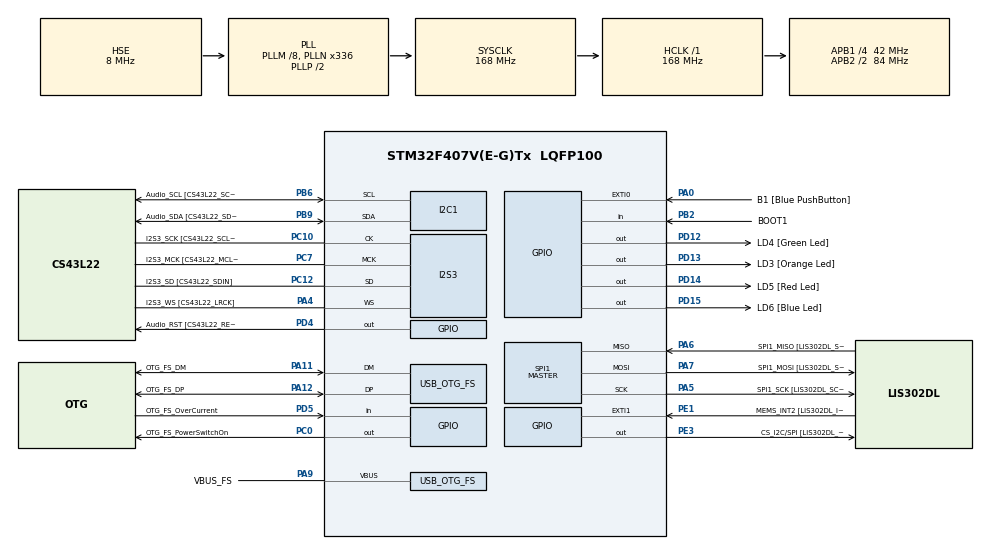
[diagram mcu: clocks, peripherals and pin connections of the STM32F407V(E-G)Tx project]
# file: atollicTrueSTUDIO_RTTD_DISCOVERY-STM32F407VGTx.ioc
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I2S3.AudioFreq-Half_Duplex_Master=I2S_AUDIOFREQ_96K
I2S3.ErrorAudioFreq=-2.34 %
I2S3.ErrorAudioFreq-Half_Duplex_Master=0.8 %
I2S3.FullDuplexMode=I2S_FULLDUPLEXMODE_DISABLE
I2S3.Instance=SPI$Index
I2S3.RealAudioFreq=93.75 KHz
I2S3.RealAudioFreq-Half_Duplex_Master=96.774 KHz
I2S3.VirtualMode=I2S_MODE_MASTER
Mcu.Family=STM32F4
Mcu.Name=STM32F407V(E-G)Tx
Mcu.Package=LQFP100
NVIC.OTG_FS_IRQn=true\:0\:0\:false\:false\:true\:true\:true
NVIC.PriorityGroup=NVIC_PRIORITYGROUP_0
PA0-WKUP.GPIO_Label=B1 [Blue PushButton]
PA0-WKUP.GPIO_ModeDefaultEXTI=GPIO_MODE_EVT_RISING
PA0-WKUP.GPIO_PuPd=GPIO_NOPULL
PA0-WKUP.Signal=GPXTI0
PA10.GPIO_Label=OTG_FS_ID
PA10.GPIO_Mode=GPIO_MODE_AF_PP
PA10.GPIO_PuPd=GPIO_NOPULL
PA10.GPIO_Speed=GPIO_SPEED_FREQ_LOW
PA10.Signal=USB_OTG_FS_ID
PA11.GPIO_Label=OTG_FS_DM
PA11.GPIO_Mode=GPIO_MODE_AF_PP
PA11.GPIO_PuPd=GPIO_NOPULL
PA11.GPIO_Speed=GPIO_SPEED_FREQ_LOW
PA11.Mode=Host_Only
PA11.Signal=USB_OTG_FS_DM
PA12.GPIO_Label=OTG_FS_DP
PA12.GPIO_Mode=GPIO_MODE_AF_PP
PA12.GPIO_PuPd=GPIO_NOPULL
PA12.GPIO_Speed=GPIO_SPEED_FREQ_LOW
PA12.Mode=Host_Only
PA12.Signal=USB_OTG_FS_DP
PA13.GPIO_Label=SWDIO
PA13.Mode=Serial_Wire
PA13.Signal=SYS_JTMS-SWDIO
PA14.GPIO_Label=SWCLK
PA14.Mode=Serial_Wire
PA14.Signal=SYS_JTCK-SWCLK
PA4.GPIO_Label=I2S3_WS [CS43L22_LRCK]
PA4.GPIO_Mode=GPIO_MODE_AF_PP
PA4.GPIO_PuPd=GPIO_NOPULL
PA4.GPIO_Speed=GPIO_SPEED_FREQ_LOW
PA4.Mode=Half_Duplex_Master
PA4.Signal=I2S3_WS
PA5.GPIO_Label=SPI1_SCK [LIS302DL_SCL/SPC]
PA5.GPIO_Mode=GPIO_MODE_AF_PP
PA5.GPIO_PuPd=GPIO_NOPULL
PA5.GPIO_Speed=GPIO_SPEED_FREQ_LOW
PA5.Mode=Full_Duplex_Master
PA5.Signal=SPI1_SCK
PA6.GPIO_Label=SPI1_MISO [LIS302DL_SDO]
PA6.GPIO_Mode=GPIO_MODE_AF_PP
PA6.GPIO_PuPd=GPIO_NOPULL
PA6.GPIO_Speed=GPIO_SPEED_FREQ_LOW
PA6.Mode=Full_Duplex_Master
PA6.Signal=SPI1_MISO
PA7.GPIO_Label=SPI1_MOSI [LIS302DL_SDA/SDI/SDO]
PA7.GPIO_Mode=GPIO_MODE_AF_PP
PA7.GPIO_PuPd=GPIO_NOPULL
PA7.GPIO_Speed=GPIO_SPEED_FREQ_LOW
PA7.Mode=Full_Duplex_Master
PA7.Signal=SPI1_MOSI
PA9.GPIO_Label=VBUS_FS
PA9.GPIO_Mode=GPIO_MODE_INPUT
PA9.GPIO_PuPd=GPIO_NOPULL
PA9.Mode=Activate_VBUS
PA9.Signal=USB_OTG_FS_VBUS
PB10.GPIO_Label=CLK_IN [MP45DT02_CLK]
PB10.GPIO_Mode=GPIO_MODE_AF_PP
PB10.GPIO_PuPd=GPIO_NOPULL
PB10.GPIO_Speed=GPIO_SPEED_FREQ_LOW
PB10.Signal=I2S2_CK
PB2.GPIO_Label=BOOT1
PB2.GPIO_Mode=GPIO_MODE_INPUT
PB2.GPIO_PuPd=GPIO_NOPULL
PB2.Signal=GPIO_Input
PB3.GPIO_Label=SWO
PB3.Signal=SYS_JTDO-SWO
PB6.GPIO_Label=Audio_SCL [CS43L22_SCL]
PB6.GPIO_Mode=GPIO_MODE_AF_OD
PB6.GPIO_PuPd=GPIO_NOPULL
PB6.GPIO_Speed=GPIO_SPEED_FREQ_LOW
PB6.Mode=I2C
PB6.Signal=I2C1_SCL
PB9.GPIO_Label=Audio_SDA [CS43L22_SDA]
PB9.GPIO_Mode=GPIO_MODE_AF_OD
PB9.GPIO_PuPd=GPIO_NOPULL
PB9.GPIO_Speed=GPIO_SPEED_FREQ_LOW
PB9.Mode=I2C
PB9.Signal=I2C1_SDA
PC0.GPIO_Label=OTG_FS_PowerSwitchOn
PC0.GPIO_PuPd=GPIO_NOPULL
PC0.GPIO_Speed=GPIO_SPEED_FREQ_LOW
PC0.PinState=GPIO_PIN_SET
PC0.Signal=GPIO_Output
PC10.GPIO_Label=I2S3_SCK [CS43L22_SCLK]
PC10.GPIO_Mode=GPIO_MODE_AF_PP
PC10.GPIO_PuPd=GPIO_NOPULL
PC10.GPIO_Speed=GPIO_SPEED_FREQ_LOW
PC10.Mode=Half_Duplex_Master
PC10.Signal=I2S3_CK
PC12.GPIO_Label=I2S3_SD [CS43L22_SDIN]
PC12.GPIO_Mode=GPIO_MODE_AF_PP
PC12.GPIO_PuPd=GPIO_NOPULL
PC12.GPIO_Speed=GPIO_SPEED_FREQ_LOW
PC12.Mode=Half_Duplex_Master
PC12.Signal=I2S3_SD
PC14-OSC32_IN.GPIO_Label=PC14-OSC32_IN
PC14-OSC32_IN.Mode=LSE-External-Oscillator
PC14-OSC32_IN.Signal=RCC_OSC32_IN
PC15-OSC32_OUT.GPIO_Label=PC15-OSC32_OUT
PC15-OSC32_OUT.Mode=LSE-External-Oscillator
PC15-OSC32_OUT.Signal=RCC_OSC32_OUT
PC3.GPIO_Label=PDM_OUT [MP45DT02_DOUT]
PC3.GPIO_Mode=GPIO_MODE_AF_PP
PC3.GPIO_PuPd=GPIO_NOPULL
PC3.GPIO_Speed=GPIO_SPEED_FREQ_LOW
PC3.Signal=I2S2_SD
PC7.GPIO_Label=I2S3_MCK [CS43L22_MCLK]
PC7.GPIO_Mode=GPIO_MODE_AF_PP
PC7.GPIO_PuPd=GPIO_NOPULL
PC7.GPIO_Speed=GPIO_SPEED_FREQ_LOW
PC7.Mode=Master_Clock_Activated
PC7.Signal=I2S3_MCK
PD12.GPIO_Label=LD4 [Green Led]
PD12.GPIO_PuPd=GPIO_NOPULL
PD12.GPIO_Speed=GPIO_SPEED_FREQ_LOW
PD12.Signal=GPIO_Output
PD13.GPIO_Label=LD3 [Orange Led]
PD13.GPIO_PuPd=GPIO_NOPULL
PD13.GPIO_Speed=GPIO_SPEED_FREQ_LOW
PD13.Signal=GPIO_Output
PD14.GPIO_Label=LD5 [Red Led]
PD14.GPIO_PuPd=GPIO_NOPULL
PD14.GPIO_Speed=GPIO_SPEED_FREQ_LOW
PD14.Signal=GPIO_Output
PD15.GPIO_Label=LD6 [Blue Led]
PD15.GPIO_PuPd=GPIO_NOPULL
PD15.GPIO_Speed=GPIO_SPEED_FREQ_LOW
PD15.Signal=GPIO_Output
PD4.GPIO_Label=Audio_RST [CS43L22_RESET]
PD4.GPIO_PuPd=GPIO_NOPULL
PD4.GPIO_Speed=GPIO_SPEED_FREQ_LOW
PD4.Signal=GPIO_Output
PD5.GPIO_Label=OTG_FS_OverCurrent
PD5.GPIO_Mode=GPIO_MODE_INPUT
PD5.GPIO_PuPd=GPIO_NOPULL
PD5.Signal=GPIO_Input
PE1.GPIO_Label=MEMS_INT2 [LIS302DL_INT2]
PE1.GPIO_ModeDefaultEXTI=GPIO_MODE_EVT_RISING
PE1.GPIO_PuPd=GPIO_NOPULL
PE1.Signal=GPXTI1
PE3.GPIO_Label=CS_I2C/SPI [LIS302DL_CS_I2C/SPI]
PE3.GPIO_PuPd=GPIO_NOPULL
PE3.GPIO_Speed=GPIO_SPEED_FREQ_LOW
PE3.Signal=GPIO_Output
PH0-OSC_IN.GPIO_Label=PH0-OSC_IN
PH0-OSC_IN.Mode=HSE-External-Oscillator
PH0-OSC_IN.Signal=RCC_OSC_IN
PH1-OSC_OUT.GPIO_Label=PH1-OSC_OUT
PH1-OSC_OUT.Mode=HSE-External-Oscillator
PH1-OSC_OUT.Signal=RCC_OSC_OUT
ProjectManager.HeapSize=0x200
ProjectManager.StackSize=0x400
ProjectManager.TargetToolchain=TrueSTUDIO
RCC.48MHZClocksFreq_Value=48000000
RCC.AHBFreq_Value=168000000
RCC.APB1CLKDivider=RCC_HCLK_DIV4
RCC.APB1Freq_Value=42000000
RCC.APB1TimFreq_Value=84000000
RCC.APB2CLKDivider=RCC_HCLK_DIV2
RCC.APB2Freq_Value=84000000
RCC.APB2TimFreq_Value=168000000
RCC.CortexFreq_Value=168000000
RCC.HCLKFreq_Value=168000000
RCC.HSE_VALUE=8000000
RCC.HSI_VALUE=16000000
RCC.PLLM=8
RCC.PLLN=336
RCC.PLLQ=7
RCC.SYSCLKFreq_VALUE=168000000
RCC.SYSCLKSource=RCC_SYSCLKSOURCE_PLLCLK
RCC.VCOOutputFreq_Value=336000000
SPI1.BaudRatePrescaler-Full_Duplex_Master=SPI_BAUDRATEPRESCALER_2
SPI1.CalculateBaudRate-Full_Duplex_Master=42.0 MBits/s
SPI1.Direction=SPI_DIRECTION_2LINES
SPI1.Mode=SPI_MODE_MASTER
SPI1.Mode-Full_Duplex_Master=SPI_MODE_MASTER
SPI1.VirtualType=VM_MASTER
USB_HOST.BSP.number=1
USB_HOST.USBH_HandleTypeDef-CDC_FS=hUsbHostFS
USB_HOST.VirtualModeFS=Cdc
USB_HOST0.BSP.STBoard=false
USB_HOST0.BSP.api=Unknown
USB_HOST0.BSP.i2caddr=0
USB_HOST0.BSP.i2creg=0
USB_HOST0.BSP.instance=PC0
USB_HOST0.BSP.ip=GPIO
USB_HOST0.BSP.mode=Output
USB_HOST0.BSP.name=Drive_VBUS_FS
USB_HOST0.BSP.solution=PC0
USB_OTG_FS.VirtualMode=Host_Only
USB_OTG_FS.phy_itface=HCD_PHY_EMBEDDED
VP_USB_HOST_VS_USB_HOST_CDC_FS.Mode=CDC_FS
board=STM32F407G-DISC1

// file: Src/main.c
/* USER CODE BEGIN Header */
/**
  ******************************************************************************
  * @file           : main.c
  * @brief          : Main program body
  ******************************************************************************
  * @attention
  *
  * <h2><center>&copy; Copyright (c) 2020 STMicroelectronics.
  * All rights reserved.</center></h2>
  *
  * This software component is licensed by ST under Ultimate Liberty license
  * SLA0044, the "License"; You may not use this file except in compliance with
  * the License. You may obtain a copy of the License at:
  *                             www.st.com/SLA0044
  *
  ******************************************************************************
  */
/* USER CODE END Header */

#include "main.h"
#include "usb_host.h"

/* USER CODE BEGIN Includes */
#include "SEGGER_RTT.h"
#include "trice.h"
/* USER CODE END Includes */

I2C_HandleTypeDef hi2c1;

I2S_HandleTypeDef hi2s3;

SPI_HandleTypeDef hspi1;

void SystemClock_Config(void);
static void MX_GPIO_Init(void);
static void MX_I2C1_Init(void);
static void MX_I2S3_Init(void);
static void MX_SPI1_Init(void);
void MX_USB_HOST_Process(void);

int main(void)
{

  /* MCU Configuration--------------------------------------------------------*/

  /* Reset of all peripherals, Initializes the Flash interface and the Systick. */
  HAL_Init();

  /* Configure the system clock */
  SystemClock_Config();

  /* Initialize all configured peripherals */
  MX_GPIO_Init();
  MX_I2C1_Init();
  MX_I2S3_Init();
  MX_SPI1_Init();
  MX_USB_HOST_Init();

  /* Infinite loop */
  /* USER CODE BEGIN WHILE */
  TRICE_RTT_SYNC;
  TRICE16_1( Id(47304), "tim:timing      message, SysTick is %6d\n", SYSTICKVAL16 );
  TRICE0( Id(51071), "att:atollicTrueSTUDIO_RTTD_DISCOVERY-STM32F407VGTx\n" );
  TRICE16_1( Id(32392), "tim:timing      message, SysTick is %6d\n", SYSTICKVAL16 );
  TRICE16_1( Id(35978), "tim:timing      message, SysTick is %6d\n", SYSTICKVAL16 );
  TRICE16_1( Id( 7285), "tim:timing      message, SysTick is %6d\n", SYSTICKVAL16 );
  TRICE16_1( Id(63877), "tim:timing      message, SysTick is %6d\n", SYSTICKVAL16 );
  while (1)
  {
      //////////////////////////////////////////////////
      // demo trices
      //
	  static uint32_t ms_1 = 0;
	  uint32_t ms = HAL_GetTick();
      if( ms >= ms_1 + 1000 ){ // every sec
          TRICE_RTT_SYNC; // for re-synchronisation the running target
          static int index = 0;
          triceCheckSet(index++%20);
          TRICE32_1( Id( 6262), "time:ms = %d\n", ms );
          ms_1 = ms;
      }
      //
      //////////////////////////////////////////////////

      //////////////////////////////////////////////////
      // no background activity needed in code
      //////////////////////////////////////////////////

    /* USER CODE END WHILE */
    MX_USB_HOST_Process();

  }
}

void SystemClock_Config(void)
{
  RCC_OscInitTypeDef RCC_OscInitStruct = {0};
  RCC_ClkInitTypeDef RCC_ClkInitStruct = {0};
  RCC_PeriphCLKInitTypeDef PeriphClkInitStruct = {0};

  /** Configure the main internal regulator output voltage
  */
  __HAL_RCC_PWR_CLK_ENABLE();
  __HAL_PWR_VOLTAGESCALING_CONFIG(PWR_REGULATOR_VOLTAGE_SCALE1);
  /** Initializes the CPU, AHB and APB busses clocks
  */
  RCC_OscInitStruct.OscillatorType = RCC_OSCILLATORTYPE_HSE;
  RCC_OscInitStruct.HSEState = RCC_HSE_ON;
  RCC_OscInitStruct.PLL.PLLState = RCC_PLL_ON;
  RCC_OscInitStruct.PLL.PLLSource = RCC_PLLSOURCE_HSE;
  RCC_OscInitStruct.PLL.PLLM = 8;
  RCC_OscInitStruct.PLL.PLLN = 336;
  RCC_OscInitStruct.PLL.PLLP = RCC_PLLP_DIV2;
  RCC_OscInitStruct.PLL.PLLQ = 7;
  if (HAL_RCC_OscConfig(&RCC_OscInitStruct) != HAL_OK)
  {
    Error_Handler();
  }
  /** Initializes the CPU, AHB and APB busses clocks
  */
  RCC_ClkInitStruct.ClockType = RCC_CLOCKTYPE_HCLK|RCC_CLOCKTYPE_SYSCLK
                              |RCC_CLOCKTYPE_PCLK1|RCC_CLOCKTYPE_PCLK2;
  RCC_ClkInitStruct.SYSCLKSource = RCC_SYSCLKSOURCE_PLLCLK;
  RCC_ClkInitStruct.AHBCLKDivider = RCC_SYSCLK_DIV1;
  RCC_ClkInitStruct.APB1CLKDivider = RCC_HCLK_DIV4;
  RCC_ClkInitStruct.APB2CLKDivider = RCC_HCLK_DIV2;

  if (HAL_RCC_ClockConfig(&RCC_ClkInitStruct, FLASH_LATENCY_5) != HAL_OK)
  {
    Error_Handler();
  }
  PeriphClkInitStruct.PeriphClockSelection = RCC_PERIPHCLK_I2S;
  PeriphClkInitStruct.PLLI2S.PLLI2SN = 192;
  PeriphClkInitStruct.PLLI2S.PLLI2SR = 2;
  if (HAL_RCCEx_PeriphCLKConfig(&PeriphClkInitStruct) != HAL_OK)
  {
    Error_Handler();
  }
}

static void MX_I2C1_Init(void)
{

  hi2c1.Instance = I2C1;
  hi2c1.Init.ClockSpeed = 100000;
  hi2c1.Init.DutyCycle = I2C_DUTYCYCLE_2;
  hi2c1.Init.OwnAddress1 = 0;
  hi2c1.Init.AddressingMode = I2C_ADDRESSINGMODE_7BIT;
  hi2c1.Init.DualAddressMode = I2C_DUALADDRESS_DISABLE;
  hi2c1.Init.OwnAddress2 = 0;
  hi2c1.Init.GeneralCallMode = I2C_GENERALCALL_DISABLE;
  hi2c1.Init.NoStretchMode = I2C_NOSTRETCH_DISABLE;
  if (HAL_I2C_Init(&hi2c1) != HAL_OK)
  {
    Error_Handler();
  }

}

static void MX_I2S3_Init(void)
{

  hi2s3.Instance = SPI3;
  hi2s3.Init.Mode = I2S_MODE_MASTER_TX;
  hi2s3.Init.Standard = I2S_STANDARD_PHILIPS;
  hi2s3.Init.DataFormat = I2S_DATAFORMAT_16B;
  hi2s3.Init.MCLKOutput = I2S_MCLKOUTPUT_ENABLE;
  hi2s3.Init.AudioFreq = I2S_AUDIOFREQ_96K;
  hi2s3.Init.CPOL = I2S_CPOL_LOW;
  hi2s3.Init.ClockSource = I2S_CLOCK_PLL;
  hi2s3.Init.FullDuplexMode = I2S_FULLDUPLEXMODE_DISABLE;
  if (HAL_I2S_Init(&hi2s3) != HAL_OK)
  {
    Error_Handler();
  }

}

static void MX_SPI1_Init(void)
{

  /* SPI1 parameter configuration*/
  hspi1.Instance = SPI1;
  hspi1.Init.Mode = SPI_MODE_MASTER;
  hspi1.Init.Direction = SPI_DIRECTION_2LINES;
  hspi1.Init.DataSize = SPI_DATASIZE_8BIT;
  hspi1.Init.CLKPolarity = SPI_POLARITY_LOW;
  hspi1.Init.CLKPhase = SPI_PHASE_1EDGE;
  hspi1.Init.NSS = SPI_NSS_SOFT;
  hspi1.Init.BaudRatePrescaler = SPI_BAUDRATEPRESCALER_2;
  hspi1.Init.FirstBit = SPI_FIRSTBIT_MSB;
  hspi1.Init.TIMode = SPI_TIMODE_DISABLE;
  hspi1.Init.CRCCalculation = SPI_CRCCALCULATION_DISABLE;
  hspi1.Init.CRCPolynomial = 10;
  if (HAL_SPI_Init(&hspi1) != HAL_OK)
  {
    Error_Handler();
  }

}

static void MX_GPIO_Init(void)
{
  GPIO_InitTypeDef GPIO_InitStruct = {0};

  /* GPIO Ports Clock Enable */
  __HAL_RCC_GPIOE_CLK_ENABLE();
  __HAL_RCC_GPIOC_CLK_ENABLE();
  __HAL_RCC_GPIOH_CLK_ENABLE();
  __HAL_RCC_GPIOA_CLK_ENABLE();
  __HAL_RCC_GPIOB_CLK_ENABLE();
  __HAL_RCC_GPIOD_CLK_ENABLE();

  /*Configure GPIO pin Output Level */
  HAL_GPIO_WritePin(CS_I2C_SPI_GPIO_Port, CS_I2C_SPI_Pin, GPIO_PIN_RESET);

  /*Configure GPIO pin Output Level */
  HAL_GPIO_WritePin(OTG_FS_PowerSwitchOn_GPIO_Port, OTG_FS_PowerSwitchOn_Pin, GPIO_PIN_SET);

  /*Configure GPIO pin Output Level */
  HAL_GPIO_WritePin(GPIOD, LD4_Pin|LD3_Pin|LD5_Pin|LD6_Pin
                          |Audio_RST_Pin, GPIO_PIN_RESET);

  /*Configure GPIO pin : CS_I2C_SPI_Pin */
  GPIO_InitStruct.Pin = CS_I2C_SPI_Pin;
  GPIO_InitStruct.Mode = GPIO_MODE_OUTPUT_PP;
  GPIO_InitStruct.Pull = GPIO_NOPULL;
  GPIO_InitStruct.Speed = GPIO_SPEED_FREQ_LOW;
  HAL_GPIO_Init(CS_I2C_SPI_GPIO_Port, &GPIO_InitStruct);

  /*Configure GPIO pin : OTG_FS_PowerSwitchOn_Pin */
  GPIO_InitStruct.Pin = OTG_FS_PowerSwitchOn_Pin;
  GPIO_InitStruct.Mode = GPIO_MODE_OUTPUT_PP;
  GPIO_InitStruct.Pull = GPIO_NOPULL;
  GPIO_InitStruct.Speed = GPIO_SPEED_FREQ_LOW;
  HAL_GPIO_Init(OTG_FS_PowerSwitchOn_GPIO_Port, &GPIO_InitStruct);

  /*Configure GPIO pin : PDM_OUT_Pin */
  GPIO_InitStruct.Pin = PDM_OUT_Pin;
  GPIO_InitStruct.Mode = GPIO_MODE_AF_PP;
  GPIO_InitStruct.Pull = GPIO_NOPULL;
  GPIO_InitStruct.Speed = GPIO_SPEED_FREQ_LOW;
  GPIO_InitStruct.Alternate = GPIO_AF5_SPI2;
  HAL_GPIO_Init(PDM_OUT_GPIO_Port, &GPIO_InitStruct);

  /*Configure GPIO pin : B1_Pin */
  GPIO_InitStruct.Pin = B1_Pin;
  GPIO_InitStruct.Mode = GPIO_MODE_EVT_RISING;
  GPIO_InitStruct.Pull = GPIO_NOPULL;
  HAL_GPIO_Init(B1_GPIO_Port, &GPIO_InitStruct);

  /*Configure GPIO pin : BOOT1_Pin */
  GPIO_InitStruct.Pin = BOOT1_Pin;
  GPIO_InitStruct.Mode = GPIO_MODE_INPUT;
  GPIO_InitStruct.Pull = GPIO_NOPULL;
  HAL_GPIO_Init(BOOT1_GPIO_Port, &GPIO_InitStruct);

  /*Configure GPIO pin : CLK_IN_Pin */
  GPIO_InitStruct.Pin = CLK_IN_Pin;
  GPIO_InitStruct.Mode = GPIO_MODE_AF_PP;
  GPIO_InitStruct.Pull = GPIO_NOPULL;
  GPIO_InitStruct.Speed = GPIO_SPEED_FREQ_LOW;
  GPIO_InitStruct.Alternate = GPIO_AF5_SPI2;
  HAL_GPIO_Init(CLK_IN_GPIO_Port, &GPIO_InitStruct);

  /*Configure GPIO pins : LD4_Pin LD3_Pin LD5_Pin LD6_Pin
                           Audio_RST_Pin */
  GPIO_InitStruct.Pin = LD4_Pin|LD3_Pin|LD5_Pin|LD6_Pin
                          |Audio_RST_Pin;
  GPIO_InitStruct.Mode = GPIO_MODE_OUTPUT_PP;
  GPIO_InitStruct.Pull = GPIO_NOPULL;
  GPIO_InitStruct.Speed = GPIO_SPEED_FREQ_LOW;
  HAL_GPIO_Init(GPIOD, &GPIO_InitStruct);

  /*Configure GPIO pin : OTG_FS_OverCurrent_Pin */
  GPIO_InitStruct.Pin = OTG_FS_OverCurrent_Pin;
  GPIO_InitStruct.Mode = GPIO_MODE_INPUT;
  GPIO_InitStruct.Pull = GPIO_NOPULL;
  HAL_GPIO_Init(OTG_FS_OverCurrent_GPIO_Port, &GPIO_InitStruct);

  /*Configure GPIO pin : MEMS_INT2_Pin */
  GPIO_InitStruct.Pin = MEMS_INT2_Pin;
  GPIO_InitStruct.Mode = GPIO_MODE_EVT_RISING;
  GPIO_InitStruct.Pull = GPIO_NOPULL;
  HAL_GPIO_Init(MEMS_INT2_GPIO_Port, &GPIO_InitStruct);

}

void Error_Handler(void)
{
}

/************************ (C) COPYRIGHT STMicroelectronics *****END OF FILE****/
